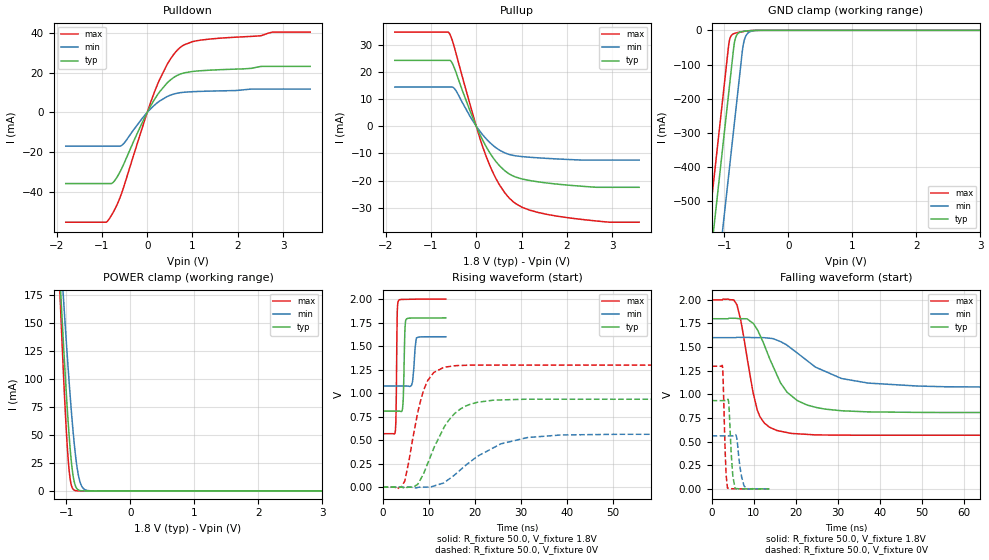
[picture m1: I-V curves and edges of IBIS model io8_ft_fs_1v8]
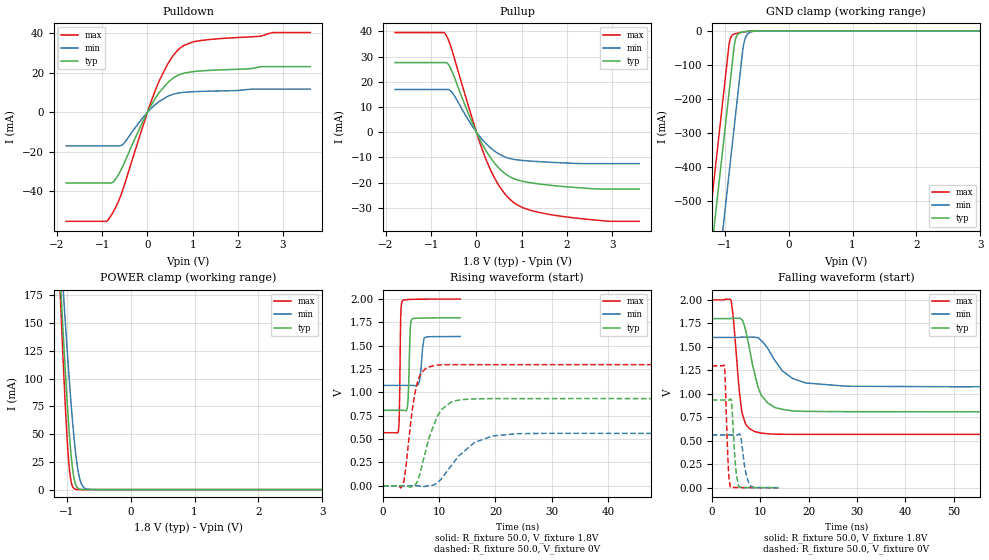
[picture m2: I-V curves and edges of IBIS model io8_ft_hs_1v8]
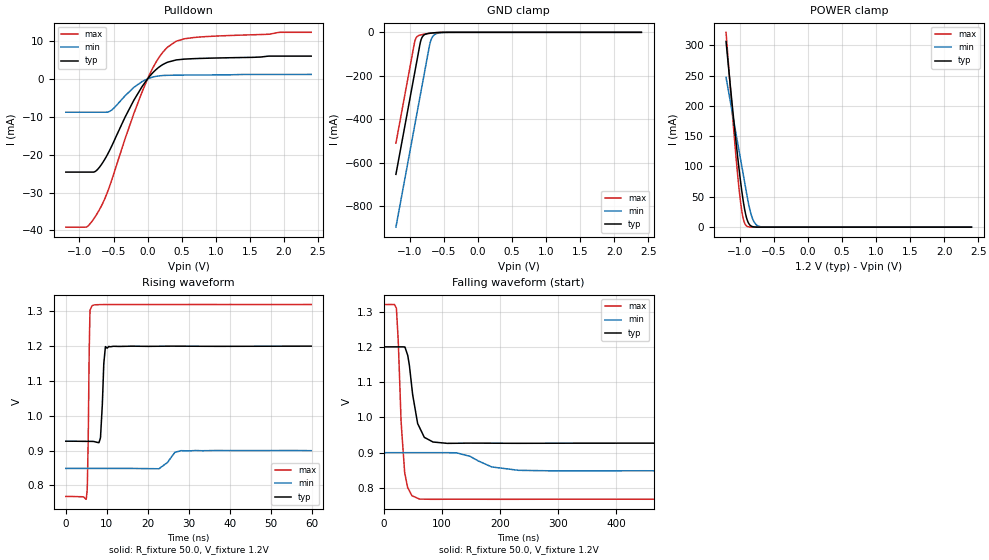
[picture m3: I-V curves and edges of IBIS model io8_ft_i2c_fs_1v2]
| IBIS file stm32c051_wlcsp15.ibs
[IBIS ver] 4.2
[File name] stm32c051_wlcsp15.ibs
[File Rev] 0.1
[Date] 13-01-2025
[Source] Data Created at STMicroelectronics
[Notes]  File originated from ELDO simulations.
[Disclaimer]  This information is for modeling purpose only and is
   not guaranted. The information is subject to change without
   notice.
[Copyright] Copyright 2025 STMicroelectronics Inc.
|   Component stm32c051_wlcsp15
[Component] stm32c051_wlcsp15
[Manufacturer] STMicroelectronics
[Package]
| variable   typ   min   max
R_pkg  0  NA  NA
L_pkg  0  NA  NA
C_pkg  0  NA  NA
[Pin]   signal_name   model_name
A2  PB7  io8_ft_i2c
| A2   PB8   io8_ft_i2c
B1  PB3  io8_ft_i2c
| B1   PB4   io8_ft_i2c
| B1   PB5   io8_ft_i2c_v33
| B1   PB6   io8_ft_i2c_v33
B3  PC14-OSCX_IN  io8_ft_i2c
C2  PC15-OSCX_OUT  io8_ft
D1  PA13  io8_ft
D3  VDD  power
E2  PA14-BOOT0  io8_ft_v33
| E2   PA15   io8_ft
F1  PA11  io8_ft_i2c
F3  VSS  gnd
G2  PA1  io8_ft
| G2   PA2   io8_ft_v33
H1  PA7  io8_ft_i2c
| H1   PA12   io8_ft_i2c
H3  PF2-NRST  ioreset_ft_v33
| H3   PA0   io8_ft_v33
J2  PA5  io8_ft
| J2   PA6   io8_ft_i2c
K1  PA8  io8_ft
K3  PA3  io8_ft
| K3   PA4   io8_ft_v33
[Package Model]   44c-wlcsp-15-241029
[Pin Mapping]   pulldown_ref   pullup_ref   | Comment
A2  gndio  vddio
B1  gndio  vddio
B3  gndio  vddio
C2  gndio  vddio
D1  gndio  vddio
D3  nc  vddio
E2  gndio  vddio
F1  gndio  vddio
F3  gndio  nc
G2  gndio  vddio
H1  gndio  vddio
H3  gndio  vddio
J2  gndio  vddio
K1  gndio  vddio
K3  gndio  vddio
[Model Selector] io8_ft
io8_ft_ls_3v3 "GPIO - 5V tolerant - low speed - 3.3V range"
io8_ft_ms_3v3 "GPIO - 5V tolerant - med speed - 3.3V range"
io8_ft_fs_3v3 "GPIO - 5V tolerant - fast speed - 3.3V range"
io8_ft_hs_3v3 "GPIO - 5V tolerant - high speed - 3.3V range"
io8_ft_ls_1v8 "GPIO - 5V tolerant - low speed - 1.8V range"
io8_ft_ms_1v8 "GPIO - 5V tolerant - med speed - 1.8V range"
io8_ft_fs_1v8 "GPIO - 5V tolerant - fast speed - 1.8V range"
io8_ft_hs_1v8 "GPIO - 5V tolerant - high speed - 1.8V range"
io8_ft_ls_1v2 "GPIO - 5V tolerant - low speed - 1.2V range"
io8_ft_ms_1v2 "GPIO - 5V tolerant - med speed - 1.2V range"
io8_ft_fs_1v2 "GPIO - 5V tolerant - fast speed - 1.2V range"
io8_ft_hs_1v2 "GPIO - 5V tolerant - high speed - 1.2V range"
[Model Selector] io8_ft_i2c
io8_ft_ls_3v3 "GPIO - 5V tolerant - low speed - 3.3V range"
io8_ft_ms_3v3 "GPIO - 5V tolerant - med speed - 3.3V range"
io8_ft_fs_3v3 "GPIO - 5V tolerant - fast speed - 3.3V range"
io8_ft_hs_3v3 "GPIO - 5V tolerant - high speed - 3.3V range"
io8_ft_ls_1v8 "GPIO - 5V tolerant - low speed - 1.8V range"
io8_ft_ms_1v8 "GPIO - 5V tolerant - med speed - 1.8V range"
io8_ft_fs_1v8 "GPIO - 5V tolerant - fast speed - 1.8V range"
io8_ft_hs_1v8 "GPIO - 5V tolerant - high speed - 1.8V range"
io8_ft_ls_1v2 "GPIO - 5V tolerant - low speed - 1.2V range"
io8_ft_ms_1v2 "GPIO - 5V tolerant - med speed - 1.2V range"
io8_ft_fs_1v2 "GPIO - 5V tolerant - fast speed - 1.2V range"
io8_ft_hs_1v2 "GPIO - 5V tolerant - high speed - 1.2V range"
io8_ft_i2c_ls_3v3 "GPIO with I2C open-drain - 5V tolerant - low speed - 3.3V range"
io8_ft_i2c_ms_3v3 "GPIO with I2C open-drain - 5V tolerant - med speed - 3.3V range"
io8_ft_i2c_fs_3v3 "GPIO with I2C open-drain - 5V tolerant - fast speed - 3.3V range"
io8_ft_i2c_hs_3v3 "GPIO with I2C open-drain - 5V tolerant - high speed - 3.3V range"
io8_ft_i2c_ls_1v8 "GPIO with I2C open-drain - 5V tolerant - low speed - 1.8V range"
io8_ft_i2c_ms_1v8 "GPIO with I2C open-drain - 5V tolerant - med speed - 1.8V range"
io8_ft_i2c_fs_1v8 "GPIO with I2C open-drain - 5V tolerant - fast speed - 1.8V range"
io8_ft_i2c_hs_1v8 "GPIO with I2C open-drain - 5V tolerant - high speed - 1.8V range"
io8_ft_i2c_ls_1v2 "GPIO with I2C open-drain - 5V tolerant - low speed - 1.2V range"
io8_ft_i2c_ms_1v2 "GPIO with I2C open-drain - 5V tolerant - med speed - 1.2V range"
io8_ft_i2c_fs_1v2 "GPIO with I2C open-drain - 5V tolerant - fast speed - 1.2V range"
io8_ft_i2c_hs_1v2 "GPIO with I2C open-drain - 5V tolerant - high speed - 1.2V range"
io8_ft_i2c_fmp_3v3 "GPIO with I2C fm+ open-drain - 5V tolerant - 3.3V range"
[Model Selector] io8_ft_v33
io8_ft_v33_ls_3v3 "GPIO - 5V tolerant - low speed - 3.3V range"
io8_ft_v33_ms_3v3 "GPIO - 5V tolerant - med speed - 3.3V range"
io8_ft_v33_fs_3v3 "GPIO - 5V tolerant - fast speed - 3.3V range"
io8_ft_v33_hs_3v3 "GPIO - 5V tolerant - high speed - 3.3V range"
io8_ft_v33_ls_1v8 "GPIO - 5V tolerant - low speed - 1.8V range"
io8_ft_v33_ms_1v8 "GPIO - 5V tolerant - med speed - 1.8V range"
io8_ft_v33_fs_1v8 "GPIO - 5V tolerant - fast speed - 1.8V range"
io8_ft_v33_hs_1v8 "GPIO - 5V tolerant - high speed - 1.8V range"
io8_ft_v33_ls_1v2 "GPIO - 5V tolerant - low speed - 1.2V range"
io8_ft_v33_ms_1v2 "GPIO - 5V tolerant - med speed - 1.2V range"
io8_ft_v33_fs_1v2 "GPIO - 5V tolerant - fast speed - 1.2V range"
io8_ft_v33_hs_1v2 "GPIO - 5V tolerant - high speed - 1.2V range"
[Model Selector] ioreset_ft_v33
io8_ft_v33_ls_3v3 "GPIO - 5V tolerant - low speed - 3.3V range"
io8_ft_v33_ms_3v3 "GPIO - 5V tolerant - med speed - 3.3V range"
io8_ft_v33_fs_3v3 "GPIO - 5V tolerant - fast speed - 3.3V range"
io8_ft_v33_hs_3v3 "GPIO - 5V tolerant - high speed - 3.3V range"
io8_ft_v33_ls_1v8 "GPIO - 5V tolerant - low speed - 1.8V range"
io8_ft_v33_ms_1v8 "GPIO - 5V tolerant - med speed - 1.8V range"
io8_ft_v33_fs_1v8 "GPIO - 5V tolerant - fast speed - 1.8V range"
io8_ft_v33_hs_1v8 "GPIO - 5V tolerant - high speed - 1.8V range"
io8_ft_v33_ls_1v2 "GPIO - 5V tolerant - low speed - 1.2V range"
io8_ft_v33_ms_1v2 "GPIO - 5V tolerant - med speed - 1.2V range"
io8_ft_v33_fs_1v2 "GPIO - 5V tolerant - fast speed - 1.2V range"
io8_ft_v33_hs_1v2 "GPIO - 5V tolerant - high speed - 1.2V range"
ioreset_ft_v33_1v2   "Reset PAD. 5V tolerant. 1.2V range"
ioreset_ft_v33_1v8   "Reset PAD. 5V tolerant. 1.8V range"
ioreset_ft_v33_3v3   "Reset PAD. 5V tolerant. 3.3V range"
[Define Package Model]  44c-wlcsp-15-241029
[Manufacturer]  Unknown
[OEM]  Unknown
[Description]  None
[Number Of Pins]  15
[Pin Numbers]
| Pin Num   Terminal Name
K1   |   PA8
F1   |   PA11
D1   |   PA13
G2   |   PA1-PA2
E2   |   PA14-BOOT0-PA15
K3   |   PA3-PA4
J2   |   PA5-PA6
H1   |   PA7-PA12
B1   |   PB3-PB4-PB5-PB6
A2   |   PB7-PB8
B3   |   PC14-OSCX_IN
C2   |   PC15-OSCX_OUT
H3   |   PF2-NRST-PA0
D3   |   VDD
F3   |   VSS
[Model Data]
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[End Model Data]
[End Package Model]
|End [Component]
| Models and submodels in the file (40): io8_ft_fs_1v2 (I/O), io8_ft_fs_1v8 (I/O), io8_ft_fs_3v3 (I/O), io8_ft_hs_1v2 (I/O), io8_ft_hs_1v8 (I/O), io8_ft_hs_3v3 (I/O), io8_ft_i2c_fmp_3v3 (I/O_open_drain), io8_ft_i2c_fs_1v2 (I/O_open_drain), io8_ft_i2c_fs_1v8 (I/O_open_drain), io8_ft_i2c_fs_3v3 (I/O_open_drain), io8_ft_i2c_hs_1v2 (I/O_open_drain), io8_ft_i2c_hs_1v8 (I/O_open_drain), io8_ft_i2c_hs_3v3 (I/O_open_drain), io8_ft_i2c_ls_1v2 (I/O_open_drain), io8_ft_i2c_ls_1v8 (I/O_open_drain), io8_ft_i2c_ls_3v3 (I/O_open_drain), io8_ft_i2c_ms_1v2 (I/O_open_drain), io8_ft_i2c_ms_1v8 (I/O_open_drain), io8_ft_i2c_ms_3v3 (I/O_open_drain), io8_ft_ls_1v2 (I/O), io8_ft_ls_1v8 (I/O), io8_ft_ls_3v3 (I/O), io8_ft_ms_1v2 (I/O), io8_ft_ms_1v8 (I/O), io8_ft_ms_3v3 (I/O), io8_ft_v33_fs_1v2 (I/O), io8_ft_v33_fs_1v8 (I/O), io8_ft_v33_fs_3v3 (I/O), io8_ft_v33_hs_1v2 (I/O), io8_ft_v33_hs_1v8 (I/O), io8_ft_v33_hs_3v3 (I/O), io8_ft_v33_ls_1v2 (I/O), io8_ft_v33_ls_1v8 (I/O), io8_ft_v33_ls_3v3 (I/O), io8_ft_v33_ms_1v2 (I/O), io8_ft_v33_ms_1v8 (I/O), io8_ft_v33_ms_3v3 (I/O), ioreset_ft_v33_1v2 (Input), ioreset_ft_v33_1v8 (Input), ioreset_ft_v33_3v3 (Input)
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[Model]   io8_ft_fs_1v8
Model_type I/O
Polarity   Non-Inverting
Enable   Active-Low
| CAP_THRESHOLD on pad IOFT is "UDTCAPC" :
| Rising=30.0% of vddiom   Falling=70.0% of vddiom
| C_comp min and max val. don't necessarily correlate with the min and max pvt
| but are the smallest and greatest pad capacitance found.
| var   typ   min   max
C_comp   1.88000pF  1.84955pF  1.93330pF
|C_comp_pullup   1.00265pF  1.07915pF  1.05575pF
|C_comp_pulldown   877.35415fF  770.40365fF  877.54544fF
Vinl = 800.0mV
Vinh = 1.0V
Vmeas = 900.0mV   | Reference voltage for timing measurements
Cref  = 50.0pF   | Timing specification test load capacitance value
Rref  = 1.0MOhm   | Timing specification test load resistance value
Vref  = 990.0mV   | Timing specification test load voltage
[Model Spec]
| TIME_THRESHOLD on pin ZIV12 is "CMOS" :
| Rising=50.0% of vdd   Falling=50.0% of vdd
Vinl 728.70000mV 652.70000mV 817.70000mV
Vinh 1.06430V 953.30000mV 1.16330V
| variable   typ   min   max
[Temperature Range] 25.0 125.0 -40.0
| variable   typ   min   max
[Voltage Range] 1.8V 1.6V 2.0V
| variable   typ   min   max
[POWER Clamp Reference] 1.8V 1.6V 2.0V
| variable   typ   min   max
[GND Clamp Reference] 0V 0V 0V
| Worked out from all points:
|   slope of the pulldown table from 0 to 0.27 V, typ, clamps not added: 26.3 ohm
|   slope of the pullup table from 0 to 0.27 V, typ, clamps not added: 30 ohm
|   GND clamp passes 1 mA (typ) near -0.61 V on its own axis
|   POWER clamp passes 1 mA (typ) near -0.81 V on its own axis
|   rising waveform, R_fixture 50.0, V_fixture 1.8V: 20-80 % time 280ps typ, 470ps min, 195ps max; typ from 0.809 V to 1.8 V
|   falling waveform, R_fixture 50.0, V_fixture 1.8V: 20-80 % time 6.63ns typ, 11.6ns min, 3.54ns max; typ from 1.8 V to 0.809 V
|   rising waveform, R_fixture 50.0, V_fixture 0V: 20-80 % time 5.72ns typ, 10.1ns min, 3.34ns max; typ from 0 V to 0.934 V
|   falling waveform, R_fixture 50.0, V_fixture 0V: 20-80 % time 694ps typ, 1.01ns min, 534ps max; typ from 0.935 V to 0 V
[POWER Clamp]
-1.8V     1.053A     933.5mA    1.262A
-1.1V     191.1mA    222.7mA    177.1mA
-1.08V    169mA      204.2mA    149.9mA
-1.05V    136.9mA    176.9mA    110.9mA
-1.01V    96.55mA    141.6mA    64.02mA
-980mV    68.91mA    116.4mA    35.23mA
-940mV    37.57mA    84.83mA    10.65mA
-880mV    8.969mA    44.34mA    807.4uA
-830mV    1.697mA    20.19mA    75.79uA
-790mV    394.2uA    8.787mA    11.25uA
-670mV    4.467uA    374.2uA    36.56nA
3.6V      0A         0A         0A
[GND Clamp]
-1.8V     -1.658A    -1.897A    -1.517A
-1.24V    -706mA     -945.3mA   -564.6mA
-1.05V    -383mA     -622.3mA   -241.6mA
-930mV    -179mA     -418.3mA   -38.91mA
-910mV    -145mA     -384.3mA   -22.02mA
-870mV    -77.01mA   -316.3mA   -11.35mA
-850mV    -44.09mA   -282.3mA   -9.519mA
-820mV    -19mA      -231.3mA   -7.801mA
-710mV    -3.257mA   -47.82mA   -3.606mA
-660mV    -1.938mA   -14.77mA   -2.175mA
-590mV    -790.4uA   -3.415mA   -786.7uA
3.6V      506.8pA    48.18nA    364.4pA
| variable   typ   min   max
[Pullup Reference] 1.8V 1.6V 2.0V
| variable   typ   min   max
[Pulldown Reference] 0V 0V 0V
[Pullup]
-1.8V     24.23mA    14.41mA    34.63mA
-600mV    24.23mA    14.41mA    34.31mA
-540mV    23.48mA    14.41mA    32.12mA
-460mV    20.37mA    13.36mA    27.59mA
-120mV    4.869mA    3.102mA    6.98mA
210mV     -7.259mA   -4.466mA   -10.7mA
510mV     -14.47mA   -8.758mA   -21.5mA
810mV     -18.3mA    -10.74mA   -27.71mA
1.18V     -19.99mA   -11.43mA   -30.89mA
1.74V     -21.24mA   -12.01mA   -32.98mA
2.94V     -22.49mA   -12.46mA   -35.33mA
3.6V      -22.49mA   -12.46mA   -35.33mA
[Pulldown]
-1.8V     -35.76mA   -16.97mA   -55.17mA
-910mV    -35.76mA   -16.97mA   -55.17mA
-830mV    -35.76mA   -16.97mA   -53.18mA
-720mV    -34.31mA   -16.97mA   -48.86mA
-540mV    -27.04mA   -16.13mA   -38.89mA
-120mV    -5.569mA   -3.236mA   -8.457mA
230mV     8.974mA    4.965mA    14.24mA
520mV     16.45mA    8.736mA    27.07mA
750mV     19.43mA    9.977mA    33.01mA
1.37V     21.21mA    10.7mA     36.84mA
2.78V     23.13mA    11.74mA    40.36mA
3.6V      23.13mA    11.74mA    40.37mA
[Ramp]
dV/dt_r 560.64103mV/5.72255ns 336.90009mV/10.08342ns 778.77397mV/3.34412ns
dV/dt_f 594.68735mV/6.63413ns 314.51285mV/11.57587ns 859.13116mV/3.53907ns
R_load = 50.0
| Removed startup time: 0s 0s 0s  .
| Removed end time: 13.75ns.
[Rising Waveform]
R_fixture   = 50.0
V_fixture   = 1.8V
V_fixture_min = 1.6V
V_fixture_max = 2.0V
0s        808.6mV    1.076V     568.1mV
2.8ns     808.6mV    1.076V     605.6mV
2.95ns    808.6mV    1.076V     844.4mV
3.2ns     808.6mV    1.076V     1.869V
3.45ns    808.7mV    1.076V     1.981V
4.35ns    834.5mV    1.076V     1.996V
5.1ns     1.781V     1.076V     1.997V
6.5ns     1.798V     1.119V     1.998V
7.35ns    1.798V     1.586V     1.999V
13.75ns   1.8V       1.599V     2V
| Removed startup time: 0s 0s 0s  .
| Removed end time: 249.75ns.
[Falling Waveform]
R_fixture   = 50.0
V_fixture   = 1.8V
V_fixture_min = 1.6V
V_fixture_max = 2.0V
0s        1.8V       1.6V       2V
6.025ns   1.803V     1.603V     1.949V
7ns       1.8V       1.603V     1.772V
9.85ns    1.753V     1.601V     1.026V
11.5ns    1.628V     1.6V       765.3mV
16.4ns    1.123V     1.558V     610.6mV
19ns      985.6mV    1.485V     587.2mV
30.93ns   826.9mV    1.168V     569mV
49ns      809.7mV    1.088V     568.1mV
249.8ns   808.9mV    1.076V     568.1mV
| Removed startup time: 0s 0s 0s  .
| Removed end time: 249.75ns.
[Rising Waveform]
R_fixture   = 50.0
V_fixture   = 0V
V_fixture_min = 0V
V_fixture_max = 0V
0s        36.63nV    88.68nV    43.76nV
3.15ns    -581.9nV   751.2nV    -21.7mV
4.8ns     -14.02mV   406.9nV    62.84mV
7.65ns    31.22mV    -3.794mV   792.2mV
9.15ns    171.7mV    -147.6uV   1.059V
11.1ns    411mV      11.46mV    1.218V
15.75ns   785.9mV    134.1mV    1.291V
25.7ns    927.3mV    460.2mV    1.298V
38.75ns   934.6mV    554.6mV    1.298V
249.8ns   934.4mV    561.5mV    1.298V
| Removed startup time: 0s 0s 0s  .
| Removed end time: 13.75ns.
[Falling Waveform]
R_fixture   = 50.0
V_fixture   = 0V
V_fixture_min = 0V
V_fixture_max = 0V
0s        934.6mV    561.6mV    1.298V
2.6ns     934.6mV    561.6mV    1.296V
3.45ns    934.3mV    561.6mV    164.2mV
3.8ns     941.1mV    561.6mV    8.057mV
4.15ns    868.9mV    561.6mV    4.659mV
5.05ns    145.7mV    561.3mV    2.206mV
5.6ns     7.594mV    569.8mV    1.867mV
6ns       3.549mV    540.8mV    1.699mV
7.75ns    1.053mV    30.07mV    1.068mV
13.75ns   422uV      -89.96uV   -91.09uV
[Model]   io8_ft_hs_1v8
Model_type I/O
Polarity   Non-Inverting
Enable   Active-Low
| CAP_THRESHOLD on pad IOFT is "UDTCAPC" :
| Rising=30.0% of vddiom   Falling=70.0% of vddiom
| C_comp min and max val. don't necessarily correlate with the min and max pvt
| but are the smallest and greatest pad capacitance found.
| var   typ   min   max
C_comp   1.88005pF  1.84964pF  1.93329pF
|C_comp_pullup   1.00281pF  1.07925pF  1.05575pF
|C_comp_pulldown   877.23973fF  770.39365fF  877.53544fF
Vinl = 800.0mV
Vinh = 1.0V
Vmeas = 900.0mV   | Reference voltage for timing measurements
Cref  = 50.0pF   | Timing specification test load capacitance value
Rref  = 1.0MOhm   | Timing specification test load resistance value
Vref  = 990.0mV   | Timing specification test load voltage
[Model Spec]
| TIME_THRESHOLD on pin ZIV12 is "CMOS" :
| Rising=50.0% of vdd   Falling=50.0% of vdd
Vinl 728.70000mV 652.70000mV 817.70000mV
Vinh 1.06430V 953.30000mV 1.16330V
| variable   typ   min   max
[Temperature Range] 25.0 125.0 -40.0
| variable   typ   min   max
[Voltage Range] 1.8V 1.6V 2.0V
| variable   typ   min   max
[POWER Clamp Reference] 1.8V 1.6V 2.0V
| variable   typ   min   max
[GND Clamp Reference] 0V 0V 0V
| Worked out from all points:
|   slope of the pulldown table from 0 to 0.27 V, typ, clamps not added: 26.3 ohm
|   slope of the pullup table from 0 to 0.27 V, typ, clamps not added: 30 ohm
|   GND clamp passes 1 mA (typ) near -0.61 V on its own axis
|   POWER clamp passes 1 mA (typ) near -0.81 V on its own axis
|   rising waveform, R_fixture 50.0, V_fixture 1.8V: 20-80 % time 279ps typ, 470ps min, 194ps max; typ from 0.809 V to 1.8 V
|   falling waveform, R_fixture 50.0, V_fixture 1.8V: 20-80 % time 2.75ns typ, 4.85ns min, 1.49ns max; typ from 1.8 V to 0.808 V
|   rising waveform, R_fixture 50.0, V_fixture 0V: 20-80 % time 2.87ns typ, 5.12ns min, 1.67ns max; typ from 0 V to 0.935 V
|   falling waveform, R_fixture 50.0, V_fixture 0V: 20-80 % time 695ps typ, 998ps min, 532ps max; typ from 0.935 V to 0 V
[POWER Clamp]
-1.8V     1.053A     933.5mA    1.262A
-1.1V     191.1mA    222.7mA    177.1mA
-1.08V    169mA      204.2mA    149.9mA
-1.05V    136.9mA    176.9mA    110.9mA
-1.01V    96.55mA    141.6mA    64.02mA
-980mV    68.91mA    116.4mA    35.23mA
-940mV    37.57mA    84.83mA    10.65mA
-880mV    8.969mA    44.34mA    807.4uA
-830mV    1.697mA    20.19mA    75.79uA
-790mV    394.2uA    8.787mA    11.25uA
-670mV    4.467uA    374.2uA    36.56nA
3.6V      0A         0A         0A
[GND Clamp]
-1.8V     -1.658A    -1.897A    -1.517A
-1.24V    -706mA     -945.3mA   -564.6mA
-1.05V    -383mA     -622.3mA   -241.6mA
-930mV    -179mA     -418.3mA   -38.91mA
-910mV    -145mA     -384.3mA   -22.02mA
-870mV    -77.01mA   -316.3mA   -11.35mA
-850mV    -44.09mA   -282.3mA   -9.519mA
-820mV    -19mA      -231.3mA   -7.801mA
-710mV    -3.257mA   -47.82mA   -3.606mA
-660mV    -1.938mA   -14.77mA   -2.175mA
-590mV    -790.4uA   -3.415mA   -786.7uA
3.6V      506.8pA    48.18nA    364.4pA
| variable   typ   min   max
[Pullup Reference] 1.8V 1.6V 2.0V
| variable   typ   min   max
[Pulldown Reference] 0V 0V 0V
[Pullup]
-1.8V     27.62mA    16.93mA    39.53mA
-680mV    27.62mA    16.93mA    38.81mA
-610mV    26.58mA    16.85mA    36.12mA
-520mV    23.23mA    15.32mA    31.29mA
-120mV    4.869mA    3.102mA    6.98mA
210mV     -7.259mA   -4.466mA   -10.7mA
490mV     -14.1mA    -8.547mA   -20.93mA
810mV     -18.3mA    -10.74mA   -27.71mA
1.18V     -19.99mA   -11.43mA   -30.89mA
1.74V     -21.24mA   -12.01mA   -32.98mA
2.94V     -22.49mA   -12.46mA   -35.33mA
3.6V      -22.49mA   -12.46mA   -35.33mA
[Pulldown]
-1.8V     -35.76mA   -16.97mA   -55.17mA
-910mV    -35.76mA   -16.97mA   -55.17mA
-830mV    -35.76mA   -16.97mA   -53.18mA
-720mV    -34.31mA   -16.97mA   -48.86mA
-540mV    -27.04mA   -16.13mA   -38.89mA
-120mV    -5.569mA   -3.236mA   -8.457mA
230mV     8.974mA    4.965mA    14.24mA
520mV     16.45mA    8.737mA    27.07mA
750mV     19.43mA    9.977mA    33.01mA
1.37V     21.21mA    10.7mA     36.84mA
2.78V     23.13mA    11.74mA    40.36mA
3.6V      23.13mA    11.74mA    40.37mA
[Ramp]
dV/dt_r 560.89985mV/2.86279ns 336.98313mV/5.12476ns 778.78903mV/1.66572ns
dV/dt_f 595.43534mV/2.75242ns 315.21172mV/4.85259ns 858.98632mV/1.4927ns
R_load = 50.0
| Removed startup time: 0s 0s 0s  .
| Removed end time: 13.75ns.
[Rising Waveform]
R_fixture   = 50.0
V_fixture   = 1.8V
V_fixture_min = 1.6V
V_fixture_max = 2.0V
0s        808.6mV    1.076V     568.1mV
2.8ns     808.6mV    1.076V     602.5mV
2.95ns    808.6mV    1.076V     851.1mV
3.2ns     808.6mV    1.076V     1.865V
3.45ns    808.6mV    1.076V     1.979V
4.35ns    835.9mV    1.076V     1.995V
5.1ns     1.779V     1.076V     1.998V
6.5ns     1.796V     1.119V     1.999V
7.35ns    1.798V     1.587V     2V
13.75ns   1.8V       1.599V     2V
| Removed startup time: 0s 0s 0s  .
| Removed end time: 249.75ns.
[Falling Waveform]
R_fixture   = 50.0
V_fixture   = 1.8V
V_fixture_min = 1.6V
V_fixture_max = 2.0V
0s        1.8V       1.6V       2V
4ns       1.802V     1.6V       1.987V
4.575ns   1.805V     1.6V       1.724V
5.75ns    1.804V     1.6V       988.4mV
6.225ns   1.787V     1.604V     798.6mV
7.325ns   1.594V     1.603V     652.5mV
10.13ns   996.5mV    1.57V      581.5mV
16.68ns   817.3mV    1.163V     568.2mV
27.75ns   809.5mV    1.08V      568.1mV
249.8ns   807.6mV    1.075V     568.4mV
| Removed startup time: 0s 0s 0s  .
| Removed end time: 249.75ns.
[Rising Waveform]
R_fixture   = 50.0
V_fixture   = 0V
V_fixture_min = 0V
V_fixture_max = 0V
0s        36.63nV    88.67nV    43.76nV
3.55ns    11.68uV    477.5nV    7.183mV
4.1ns     -236.7uV   -528.9nV   202.6mV
5.25ns    -5.835mV   24.53uV    818.9mV
6.15ns    50.5mV     -681.3uV   1.108V
9.35ns    695.6mV    20.44mV    1.292V
12ns      891.9mV    203.5mV    1.298V
16.3ns    931mV      464.7mV    1.298V
23.85ns   934.3mV    558mV      1.298V
249.8ns   934.8mV    561.6mV    1.298V
| Removed startup time: 0s 0s 0s  .
| Removed end time: 13.75ns.
[Falling Waveform]
R_fixture   = 50.0
V_fixture   = 0V
V_fixture_min = 0V
V_fixture_max = 0V
0s        934.6mV    561.6mV    1.298V
2.6ns     934.6mV    561.6mV    1.294V
3.35ns    934.5mV    561.6mV    269mV
3.85ns    944mV      561.6mV    2.457mV
4.15ns    865.9mV    561.6mV    7.012mV
5.05ns    144.2mV    561.3mV    1.783mV
5.6ns     7.191mV    569.2mV    1.247mV
6ns       4.557mV    539.6mV    842.3uV
7.85ns    1.073mV    22.58mV    548uV
13.75ns   190.2uV    72.99uV    -251.5uV
[Model]   io8_ft_i2c_fs_1v2
Model_type I/O_open_drain
Polarity   Non-Inverting
Enable   Active-Low
| CAP_THRESHOLD on pad IOFT is "UDTCAPC" :
| Rising=30.0% of vddiom   Falling=70.0% of vddiom
| C_comp min and max val. don't necessarily correlate with the min and max pvt
| but are the smallest and greatest pad capacitance found.
| var   typ   min   max
C_comp   1.89955pF  1.76150pF  1.92615pF
|C_comp_pulldown   1.89955pF  1.76150pF  1.92615pF
Vinl = 450.0mV
Vinh = 660.0mV
Vmeas = 600.0mV   | Reference voltage for timing measurements
Cref  = 50.0pF   | Timing specification test load capacitance value
Rref  = 1.0MOhm   | Timing specification test load resistance value
Vref  = 660.0mV   | Timing specification test load voltage
[Model Spec]
| TIME_THRESHOLD on pin ZII2CV12 is "CMOS" :
| Rising=50.0% of vdd   Falling=50.0% of vdd
Vinl 458.70000mV 361.70000mV 499.70000mV
Vinh 728.30000mV 549.30000mV 792.30000mV
| variable   typ   min   max
[Temperature Range] 25.0 125.0 -40.0
| variable   typ   min   max
[Voltage Range] 1.2V 900.0mV 1.32V
| variable   typ   min   max
[POWER Clamp Reference] 1.2V 900.0mV 1.32V
| variable   typ   min   max
[GND Clamp Reference] 0V 0V 0V
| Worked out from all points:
|   slope of the pulldown table from 0 to 0.18 V, typ, clamps not added: 55.2 ohm
|   GND clamp passes 1 mA (typ) near -0.58 V on its own axis
|   POWER clamp passes 1 mA (typ) near -0.81 V on its own axis
|   rising waveform, R_fixture 50.0, V_fixture 1.2V: 20-80 % time 581ps typ, 2.26ns min, 365ps max; typ from 0.927 V to 1.2 V
|   falling waveform, R_fixture 50.0, V_fixture 1.2V: 20-80 % time 14.3ns typ, 40.3ns min, 9.37ns max; typ from 1.2 V to 0.927 V
[POWER Clamp]
-1.2V     306.2mA    246.9mA    321.2mA
-1.09V    180mA      177.2mA    163.4mA
-1.05V    136.9mA    151.8mA    110.9mA
-1.01V    96.55mA    126.4mA    64.02mA
-960mV    52.29mA    94.73mA    20.68mA
-930mV    31.08mA    75.71mA    7.282mA
-900mV    15.67mA    56.69mA    2.025mA
-860mV    4.779mA    33.42mA    315.2uA
-810mV    823.2uA    13.62mA    29.21uA
-760mV    129.2uA    4.248mA    2.687uA
-690mV    9.442uA    651.7uA    95.02nA
2.4V      0A         0A         0A
[GND Clamp]
-1.2V     -654.2mA   -897.4mA   -510.5mA
-920mV    -178.2mA   -421.4mA   -38.03mA
-890mV    -127.2mA   -370.4mA   -19.79mA
-840mV    -43.84mA   -285.4mA   -12.07mA
-820mV    -25.28mA   -251.4mA   -10.64mA
-780mV    -10.73mA   -183.4mA   -8.317mA
-700mV    -3.985mA   -50.14mA   -4.515mA
-670mV    -2.94mA    -24.28mA   -3.345mA
-640mV    -2.115mA   -12.33mA   -2.341mA
-570mV    -791.5uA   -2.935mA   -746.3uA
-440mV    -36.45uA   -184.1uA   -16.55uA
2.4V      342.4pA    36.99nA    239.3pA
| variable   typ   min   max
[Pullup Reference] 1.2V 900.0mV 1.32V
| variable   typ   min   max
[Pulldown Reference] 0V 0V 0V
[Pulldown]
-1.2V     -24.6mA    -8.807mA   -39.12mA
-890mV    -24.6mA    -8.807mA   -39.02mA
-780mV    -24.54mA   -8.807mA   -36.66mA
-710mV    -23.4mA    -8.807mA   -34.61mA
-530mV    -17.87mA   -8.266mA   -26.91mA
-330mV    -10.09mA   -4.455mA   -15.79mA
-80mV     -2.02mA    -710uA     -3.413mA
110mV     2.211mA    605.8uA    3.97mA
290mV     4.374mA    930.5uA    8.331mA
420mV     4.991mA    971.4uA    9.931mA
670mV     5.322mA    1.008mA    10.89mA
2.4V      5.995mA    1.165mA    12.27mA
[Ramp]
dV/dt_r 164.04361mV/580.74116ps 30.63254mV/2.26268ns 331.19591mV/364.95099ps
dV/dt_f 163.75797mV/14.34247ns 30.71298mV/40.30411ns 331.28468mV/9.37113ns
R_load = 50.0
| Removed startup time: 0s 0s 0s  .
| Removed end time: 59.75ns.
[Rising Waveform]
R_fixture   = 50.0
V_fixture   = 1.2V
V_fixture_min = 900.0mV
V_fixture_max = 1.32V
0s        926.8mV    848.6mV    768mV
5ns       926.4mV    848.6mV    762.2mV
5.25ns    926.4mV    848.6mV    803.8mV
5.7ns     926.4mV    848.6mV    1.187V
5.9ns     926.4mV    848.6mV    1.304V
6.5ns     926.3mV    848.6mV    1.317V
8.45ns    937.6mV    848.6mV    1.32V
9.25ns    1.15V      848.6mV    1.32V
9.65ns    1.199V     848.6mV    1.32V
59.75ns   1.2V       899.7mV    1.32V
| Removed startup time: 0s 0s 0s  .
| Removed end time: 999.6ns.
[Falling Waveform]
R_fixture   = 50.0
V_fixture   = 1.2V
V_fixture_min = 900.0mV
V_fixture_max = 1.32V
0s        1.2V       900mV      1.32V
21.9ns    1.2V       900mV      1.309V
25.05ns   1.2V       900mV      1.218V
30ns      1.2V       900mV      987.4mV
36ns      1.2V       900mV      845mV
48.45ns   1.085V     900mV      778.3mV
61.5ns    972.1mV    900mV      768.6mV
109.5ns   926.4mV    900mV      768.1mV
231.9ns   926.6mV    850mV      767.9mV
999.6ns   927.1mV    848.8mV    767.9mV
